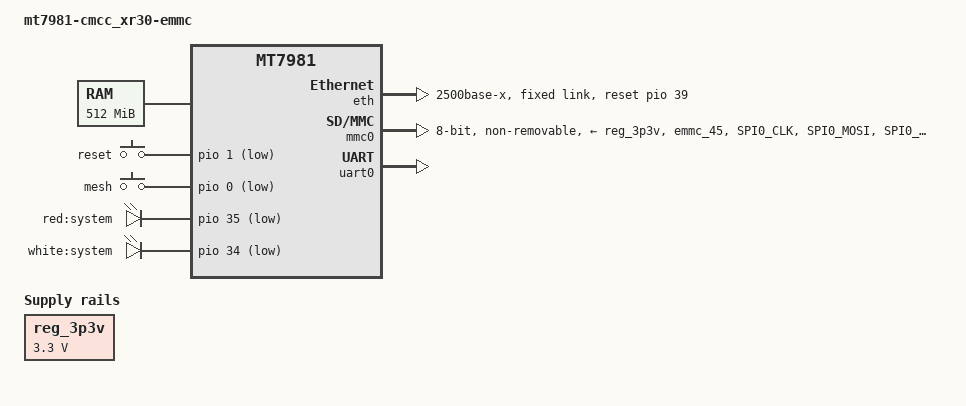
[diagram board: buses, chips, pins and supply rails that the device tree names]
// SPDX-License-Identifier: GPL-2.0-or-later OR MIT

/dts-v1/;
#include "mt7981.dtsi"
#include <dt-bindings/gpio/gpio.h>

/ {
	#address-cells = <1>;
	#size-cells = <1>;
	model = "mt7981-cmcc_xr30-emmc";
	compatible = "mediatek,mt7981", "mediatek,mt7981-rfb";

	chosen {
		stdout-path = &uart0;
		tick-timer = &timer0;
	};

	config {
		bootcmd = "mtkboardboot";
		blink_led = "red:system";
		system_led = "white:system";
	};

	memory@40000000 {
		device_type = "memory";
		reg = <0x40000000 0x20000000>;
	};

	gpio-keys {
		compatible = "gpio-keys";

		reset-button {
			label = "reset";
			linux,code = <KEY_RESTART>;
			gpios = <&pio 1 GPIO_ACTIVE_LOW>;
		};

		mesh-button {
			label = "mesh";
			linux,code = <BTN_9>;
			gpios = <&pio 0 GPIO_ACTIVE_LOW>;
		};
	};

	leds {
		compatible = "gpio-leds";

		led-0 {
			label = "red:system";
			gpios = <&pio 35 GPIO_ACTIVE_LOW>;
		};

		led-1 {
			label = "white:system";
			gpios = <&pio 34 GPIO_ACTIVE_LOW>;
		};

	};

	reg_3p3v: regulator-3p3v {
		  compatible = "regulator-fixed";
		  regulator-name = "fixed-3.3V";
		  regulator-min-microvolt = <3300000>;
		  regulator-max-microvolt = <3300000>;
		  regulator-boot-on;
		  regulator-always-on;
	};

	bl2_verify {
		bl2_compatible = "emmc";
	};
};

&eth {
	status = "okay";
	mediatek,gmac-id = <0>;
	phy-mode = "2500base-x";
	mediatek,switch = "auto";
	reset-gpios = <&pio 39 GPIO_ACTIVE_HIGH>;

	fixed-link {
		speed = <2500>;
		full-duplex;
	};
};

&mmc0 {
	pinctrl-names = "default";
	pinctrl-0 = <&mmc0_pins_default>;
	bus-width = <8>;
	max-frequency = <26000000>;
	cap-mmc-hw-reset;
	vmmc-supply = <&reg_3p3v>;
	non-removable;
	status = "okay";
};

&pio {
	spic_pins: spi1-pins-func-1 {
		mux {
			function = "spi";
			groups = "spi1_1";
		};
	};

	mmc0_pins_default: mmc0default {
		mux {
			function = "flash";
			groups = "emmc_45";
		};
		conf-cmd-dat {
			pins = "SPI0_CLK", "SPI0_MOSI", "SPI0_MISO",
				"SPI0_CS",  "SPI0_HOLD", "SPI0_WP",
				"SPI1_CLK", "SPI1_MOSI", "SPI1_MISO";
			input-enable;
			drive-strength = <MTK_DRIVE_4mA>;
			bias-pull-up = <MTK_PUPD_SET_R1R0_01>;
		};
		conf-clk {
			pins = "SPI1_CS";
			drive-strength = <MTK_DRIVE_6mA>;
			bias-pull-down = <MTK_PUPD_SET_R1R0_10>;
		};
		conf-rst {
			pins = "PWM0";
			drive-strength = <MTK_DRIVE_4mA>;
			bias-pull-up = <MTK_PUPD_SET_R1R0_01>;
		};
	};
};

&uart0 {
	status = "okay";
};

&watchdog {
	status = "disabled";
};
